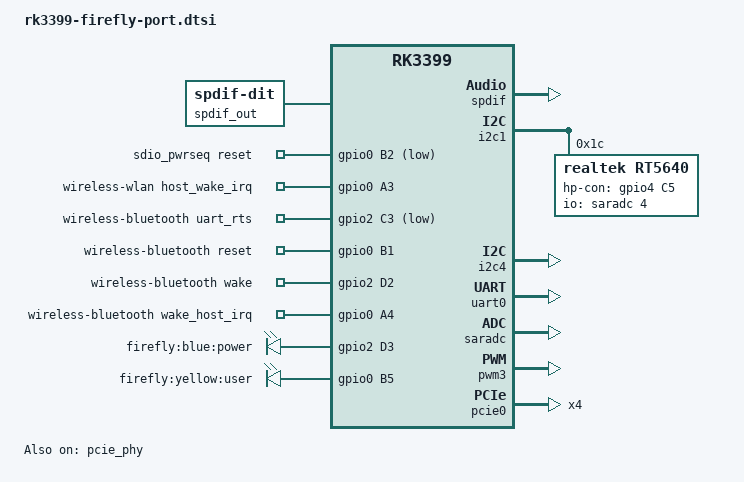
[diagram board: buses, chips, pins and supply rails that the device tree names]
/*
 * Copyright (c) 2016 Fuzhou Rockchip Electronics Co., Ltd
 *
 * This file is dual-licensed: you can use it either under the terms
 * of the GPL or the X11 license, at your option. Note that this dual
 * licensing only applies to this file, and not this project as a
 * whole.
 *
 *  a) This file is free software; you can redistribute it and/or
 *     modify it under the terms of the GNU General Public License as
 *     published by the Free Software Foundation; either version 2 of the
 *     License, or (at your option) any later version.
 *
 *     This file is distributed in the hope that it will be useful,
 *     but WITHOUT ANY WARRANTY; without even the implied warranty of
 *     MERCHANTABILITY or FITNESS FOR A PARTICULAR PURPOSE.  See the
 *     GNU General Public License for more details.
 *
 * Or, alternatively,
 *
 *  b) Permission is hereby granted, free of charge, to any person
 *     obtaining a copy of this software and associated documentation
 *     files (the "Software"), to deal in the Software without
 *     restriction, including without limitation the rights to use,
 *     copy, modify, merge, publish, distribute, sublicense, and/or
 *     sell copies of the Software, and to permit persons to whom the
 *     Software is furnished to do so, subject to the following
 *     conditions:
 *
 *     The above copyright notice and this permission notice shall be
 *     included in all copies or substantial portions of the Software.
 *
 *     THE SOFTWARE IS PROVIDED "AS IS", WITHOUT WARRANTY OF ANY KIND,
 *     EXPRESS OR IMPLIED, INCLUDING BUT NOT LIMITED TO THE WARRANTIES
 *     OF MERCHANTABILITY, FITNESS FOR A PARTICULAR PURPOSE AND
 *     NONINFRINGEMENT. IN NO EVENT SHALL THE AUTHORS OR COPYRIGHT
 *     HOLDERS BE LIABLE FOR ANY CLAIM, DAMAGES OR OTHER LIABILITY,
 *     WHETHER IN AN ACTION OF CONTRACT, TORT OR OTHERWISE, ARISING
 *     FROM, OUT OF OR IN CONNECTION WITH THE SOFTWARE OR THE USE OR
 *     OTHER DEALINGS IN THE SOFTWARE.
 */

#include "rk3399-firefly-core.dtsi"
#include "rk3399-firefly-demo.dtsi"

/ {
	compatible = "rockchip,rk3399-firefly-port", "rockchip,rk3399";

	rt5640-sound {
		compatible = "simple-audio-card";
		simple-audio-card,format = "i2s";
		simple-audio-card,name = "rockchip,rt5640-codec";
		simple-audio-card,mclk-fs = <256>;
		simple-audio-card,widgets =
			"Microphone", "Mic Jack",
			"Headphone", "Headphone Jack";
		simple-audio-card,routing =
			"Mic Jack", "MICBIAS1",
			"IN1P", "Mic Jack",
			"Headphone Jack", "HPOL",
			"Headphone Jack", "HPOR";
		simple-audio-card,cpu {
			sound-dai = <&i2s1>;
		};
		simple-audio-card,codec {
			sound-dai = <&rt5640>;
		};
	};

	spdif-sound {
		status = "okay";
		compatible = "simple-audio-card";
		simple-audio-card,name = "ROCKCHIP,SPDIF";
		simple-audio-card,cpu {
			sound-dai = <&spdif>;
		};
		simple-audio-card,codec {
			sound-dai = <&spdif_out>;
		};
	};

	spdif_out: spdif-out {
		status = "okay";
		compatible = "linux,spdif-dit";
		#sound-dai-cells = <0>;
	};

	sdio_pwrseq: sdio-pwrseq {
		compatible = "mmc-pwrseq-simple";
		clocks = <&rk808 1>;
		clock-names = "ext_clock";
		pinctrl-names = "default";
		pinctrl-0 = <&wifi_enable_h>;

		/*
		 * On the module itself this is one of these (depending
		 * on the actual card populated):
		 * - SDIO_RESET_L_WL_REG_ON
		 * - PDN (power down when low)
		 */
		reset-gpios = <&gpio0 B2 GPIO_ACTIVE_LOW>; /* GPIO0_B2 */
	};

	wireless-wlan {
		compatible = "wlan-platdata";
		rockchip,grf = <&grf>;
		wifi_chip_type = "ap6356s";
		sdio_vref = <1800>;
		WIFI,host_wake_irq = <&gpio0 A3 GPIO_ACTIVE_HIGH>; /* GPIO0_a3 */
		status = "okay";
	};

	wireless-bluetooth {
		compatible = "bluetooth-platdata";
		clocks = <&rk808 1>;
		clock-names = "ext_clock";
		//wifi-bt-power-toggle;
		uart_rts_gpios = <&gpio2 C3 GPIO_ACTIVE_LOW>; /* GPIO2_C3 */
		pinctrl-names = "default", "rts_gpio";
		pinctrl-0 = <&uart0_rts>;
		pinctrl-1 = <&uart0_gpios>;
		//BT,power_gpio  = <&gpio3 C3 GPIO_ACTIVE_HIGH>; /* GPIOx_xx */
		BT,reset_gpio    = <&gpio0 B1 GPIO_ACTIVE_HIGH>; /* GPIO0_B1 */
		BT,wake_gpio     = <&gpio2 D2 GPIO_ACTIVE_HIGH>; /* GPIO2_D2 */
		BT,wake_host_irq = <&gpio0 A4 GPIO_ACTIVE_HIGH>; /* GPIO0_A4 */
		status = "okay";
	};

    leds {
       compatible = "gpio-leds";
       power {
           label = "firefly:blue:power";
           linux,default-trigger = "ir-power-click";
           default-state = "on";
           gpios = <&gpio2 D3 GPIO_ACTIVE_HIGH>;
           pinctrl-names = "default";
           pinctrl-0 = <&led_power>;
       };
       user {
           label = "firefly:yellow:user";
           linux,default-trigger = "ir-user-click";
           default-state = "off";
           gpios = <&gpio0 B5 GPIO_ACTIVE_HIGH>;
           pinctrl-names = "default";
           pinctrl-0 = <&led_user>;
       };
   };
};

&spdif {
	status = "okay";
	pinctrl-0 = <&spdif_bus_1>;
	i2c-scl-rising-time-ns = <450>;
	i2c-scl-falling-time-ns = <15>;
	#sound-dai-cells = <0>;
};

&i2c0 {

    hym8563: hym8563@51 {
        status = "disabled";
        compatible = "haoyu,hym8563";
        reg = <0x51>;
        #clock-cells = <0>;
        clock-frequency = <32768>;
        clock-output-names = "sus32k";
        /* rtc_int is not connected */
    };
};

&i2c1 {
	status = "okay";
	i2c-scl-rising-time-ns = <300>;
	i2c-scl-falling-time-ns = <15>;

	rt5640: rt5640@1c {
		#sound-dai-cells = <0>;
		compatible = "realtek,rt5640";
		reg = <0x1c>;
		clocks = <&cru SCLK_I2S_8CH_OUT>;
		clock-names = "mclk";
		realtek,in1-differential;
		pinctrl-names = "default";
		pinctrl-0 = <&rt5640_hpcon>;
		hp-con-gpio = <&gpio4 C5 GPIO_ACTIVE_HIGH>;
		//hp-det-gpio = <&gpio4 D4 GPIO_ACTIVE_LOW>;
		io-channels = <&saradc 4>;
		hp-det-adc-value = <500>;
	};
};

&i2c4 {
	status = "okay";
	i2c-scl-rising-time-ns = <600>;
	i2c-scl-falling-time-ns = <20>;

	/*mpu6500@68 {
		status = "okay";
		compatible = "invensense,mpu6500";
		reg = <0x68>;
		irq-gpio = <&gpio1 C6 IRQ_TYPE_EDGE_RISING>;
		mpu-int_config = <0x10>;
		mpu-level_shifter = <0>;
		mpu-orientation = <0 1 0 1 0 0 0 0 1>;
		orientation-x= <1>;
		orientation-y= <0>;
		orientation-z= <0>;
		mpu-debug = <1>;
	};*/
};

&uart0 {
	pinctrl-names = "default";
	pinctrl-0 = <&uart0_xfer &uart0_cts>;
	status = "okay";
};

&saradc {
	status = "okay";
};

&pinctrl {
	sdio-pwrseq {
		wifi_enable_h: wifi-enable-h {
			rockchip,pins =
				<GPIO0_B2 RK_FUNC_GPIO &pcfg_pull_none>;
		};
	};

	wireless-bluetooth {
		uart0_gpios: uart0-gpios {
			rockchip,pins =
				<GPIO2_C3 RK_FUNC_GPIO &pcfg_pull_none>;
		};
	};

	leds {
		led_power: led-power {
			rockchip,pins = <GPIO2_D3 RK_FUNC_GPIO &pcfg_pull_none>;
		};

		led_user: led-user {
			rockchip,pins = <GPIO0_B5 RK_FUNC_GPIO &pcfg_pull_none>;
		};
	};

	rt5640 {
		rt5640_hpcon: rt5640-hpcon {
			rockchip,pins = <GPIO4_C5 RK_FUNC_GPIO &pcfg_pull_none>;
		};
	};

};

&pwm3 {
	status = "okay";
	interrupts = <GIC_SPI 61 IRQ_TYPE_LEVEL_HIGH 0>;
	compatible = "rockchip,remotectl-pwm";
	remote_pwm_id = <3>;
	handle_cpu_id = <0>;

    ir_key1{
        rockchip,usercode = <0xff00>;
        rockchip,key_table =
            <0xeb   KEY_POWER>,
            <0xec   KEY_MENU>,
            <0xfe   KEY_BACK>,
            <0xb7   KEY_HOME>,
            <0xa3   KEY_WWW>,
            <0xf4   KEY_VOLUMEUP>,
            <0xa7   KEY_VOLUMEDOWN>,
            <0xf8   KEY_REPLY>,
            <0xfc   KEY_UP>,
            <0xfd   KEY_DOWN>,
            <0xf1   KEY_LEFT>,
            <0xe5   KEY_RIGHT>;
    };
};

&uart4 {
	current-speed = <9600>;
	no-loopback-test;
	status = "disabled";
};

&pcie_phy {
            status = "okay";
};
&pcie0 {
            ep-gpios = <&gpio3 B5 GPIO_ACTIVE_HIGH>;
            num-lanes = <4>;
            pinctrl-names = "default";
            pinctrl-0 = <&pcie_clkreqn>;
            status = "okay";
};
